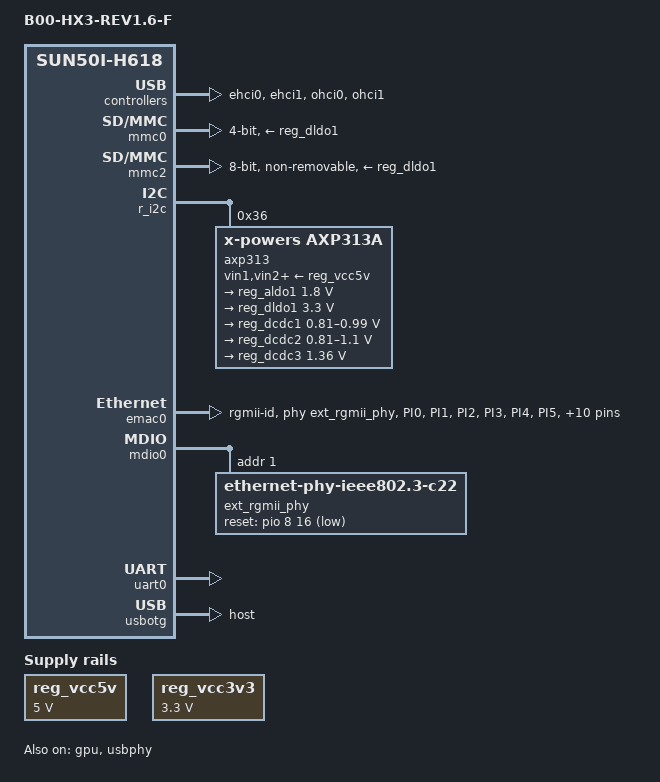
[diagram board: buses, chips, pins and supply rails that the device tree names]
// SPDX-License-Identifier: (GPL-2.0+ OR MIT)
/*
 * B00-HX3-REV1.6-F (Allwinner H618, 4 GiB DDR3, 128 GiB eMMC)
 *
 * Base: mainline sun50i-h618-transpeed-8k618-t.dts (v6.18), adjusted per
 * community-verified settings for the matching Transpeed M98 PCB
 * (ophub/fnnas issue #500), checked against the running board:
 *
 *  - Onboard RTL8211F GbE PHY on EMAC0, MDIO address 1, reset on PI16.
 *    phy-mode = "rgmii-id": the RTL8211F PHY inserts both 2 ns RGMII delays
 *    (drivers/net/phy/realtek), the sun8i EMAC adds none because we do not
 *    pass allwinner,tx/rx-delay-ps. No delay is configured twice.
 *    The board-local emac0 pin group covers PI0..PI15 only, leaving PI16
 *    usable as the PHY reset GPIO (mainline ext_rgmii_pins claims PI16,
 *    which would conflict; the vendor group for this board omits it).
 *  - SD card (mmc0) has no card-detect GPIO wired on this PCB; the reference
 *    DTB uses broken-cd and PI16 is the PHY reset, so mainline's
 *    cd-gpios = PI16 must NOT be used here.
 *  - Wi-Fi/BT are not fitted: mmc1 (SDIO), its pwrseq and uart1 (BT) are
 *    left disabled.
 *  - eMMC keeps the mainline 8K618-T settings (HS200/DDR 1.8 V). The
 *    reference DTB additionally claims mmc-hs400-1_8v / mmc-ddr-3_3v and a
 *    150 MHz cap; those are vendor-kernel results, unverified on the
 *    mainline sunxi-mmc driver, so they are intentionally not adopted.
 *  - Headless: mainline Mali Panfrost is enabled; HDMI, audio, IR and video
 *    codec interfaces remain disabled. USB host, UART0 TX console, GbE, TF
 *    and eMMC are kept.
 */

/dts-v1/;

#include "sun50i-h616.dtsi"
#include "sun50i-h616-cpu-opp.dtsi"

#include <dt-bindings/gpio/gpio.h>
#include <dt-bindings/interrupt-controller/arm-gic.h>

/ {
	model = "B00-HX3-REV1.6-F";
	compatible = "b00,hx3-rev1-6-f", "transpeed,m98-8k-plus",
		     "allwinner,sun50i-h618";

	aliases {
		ethernet0 = &emac0;
		serial0 = &uart0;
	};

	chosen {
		stdout-path = "serial0:115200n8";
	};

	reg_vcc5v: vcc5v {
		/* board wide 5V supply directly from the DC input */
		compatible = "regulator-fixed";
		regulator-name = "vcc-5v";
		regulator-min-microvolt = <5000000>;
		regulator-max-microvolt = <5000000>;
		regulator-always-on;
	};

	reg_vcc3v3: vcc3v3 {
		/* discrete 3.3V regulator */
		compatible = "regulator-fixed";
		regulator-name = "vcc-3v3";
		regulator-min-microvolt = <3300000>;
		regulator-max-microvolt = <3300000>;
		regulator-always-on;
	};
};

&cpu0 {
	cpu-supply = <&reg_dcdc2>;
};

&ehci0 {
	status = "okay";
};

&ehci1 {
	status = "okay";
};

&ir {
	status = "disabled";
};

&gpu {
	mali-supply = <&reg_dcdc1>;
	status = "okay";
};

&codec {
	status = "disabled";
};

&spdif {
	status = "disabled";
};

&mmc0 {
	vmmc-supply = <&reg_dldo1>;
	/* no card-detect line wired on this PCB; PI16 is the PHY reset */
	broken-cd;
	disable-wp;
	bus-width = <4>;
	status = "okay";
};

&mmc2 {
	vmmc-supply = <&reg_dldo1>;
	vqmmc-supply = <&reg_aldo1>;
	bus-width = <8>;
	non-removable;
	cap-mmc-hw-reset;
	mmc-ddr-1_8v;
	mmc-hs200-1_8v;
	status = "okay";
};

&ohci0 {
	status = "okay";
};

&ohci1 {
	status = "okay";
};

&pio {
	vcc-pc-supply = <&reg_aldo1>;
	vcc-pg-supply = <&reg_dldo1>;
	vcc-ph-supply = <&reg_dldo1>;
	vcc-pi-supply = <&reg_dldo1>;

	/*
	 * EMAC0 RGMII pins without PI16 (PI16 is the PHY reset GPIO here).
	 * Same pin set and drive strength as the vendor DTB for this board.
	 */
	rgmii0_pins: rgmii0-pins {
		pins = "PI0", "PI1", "PI2", "PI3", "PI4",
		       "PI5", "PI6", "PI7", "PI8", "PI9",
		       "PI10", "PI11", "PI12", "PI13", "PI14",
		       "PI15";
		function = "emac0";
		drive-strength = <40>;
	};
};

&r_i2c {
	status = "okay";

	axp313: pmic@36 {
		compatible = "x-powers,axp313a";
		reg = <0x36>;
		#interrupt-cells = <1>;
		interrupt-controller;

		vin1-supply = <&reg_vcc5v>;
		vin2-supply = <&reg_vcc5v>;
		vin3-supply = <&reg_vcc5v>;

		regulators {
			reg_aldo1: aldo1 {
				regulator-always-on;
				regulator-min-microvolt = <1800000>;
				regulator-max-microvolt = <1800000>;
				regulator-name = "vcc-1v8-pll";
			};

			reg_dldo1: dldo1 {
				regulator-always-on;
				regulator-min-microvolt = <3300000>;
				regulator-max-microvolt = <3300000>;
				regulator-name = "vcc-3v3-io-mmc";
			};

			reg_dcdc1: dcdc1 {
				regulator-always-on;
				regulator-min-microvolt = <810000>;
				regulator-max-microvolt = <990000>;
				regulator-name = "vdd-gpu-sys";
			};

			reg_dcdc2: dcdc2 {
				regulator-always-on;
				regulator-min-microvolt = <810000>;
				regulator-max-microvolt = <1100000>;
				regulator-name = "vdd-cpu";
			};

			reg_dcdc3: dcdc3 {
				regulator-always-on;
				regulator-min-microvolt = <1360000>;
				regulator-max-microvolt = <1360000>;
				regulator-name = "vdd-dram";
			};
		};
	};
};

/* Onboard RTL8211F GbE PHY; delays come from the PHY (phy-mode rgmii-id). */
&emac0 {
	pinctrl-names = "default";
	pinctrl-0 = <&rgmii0_pins>;
	phy-mode = "rgmii-id";
	phy-handle = <&ext_rgmii_phy>;
	status = "okay";
};

&mdio0 {
	ext_rgmii_phy: ethernet-phy@1 {
		compatible = "ethernet-phy-ieee802.3-c22";
		reg = <1>;
		reset-gpios = <&pio 8 16 GPIO_ACTIVE_LOW>; /* PI16 */
		reset-assert-us = <30000>;
		reset-deassert-us = <150000>;
	};
};

&uart0 {
	pinctrl-names = "default";
	pinctrl-0 = <&uart0_ph_pins>;
	status = "okay";
};

&usbotg {
	dr_mode = "host";	/* USB A type receptable */
	status = "okay";
};

&usbphy {
	status = "okay";
};
